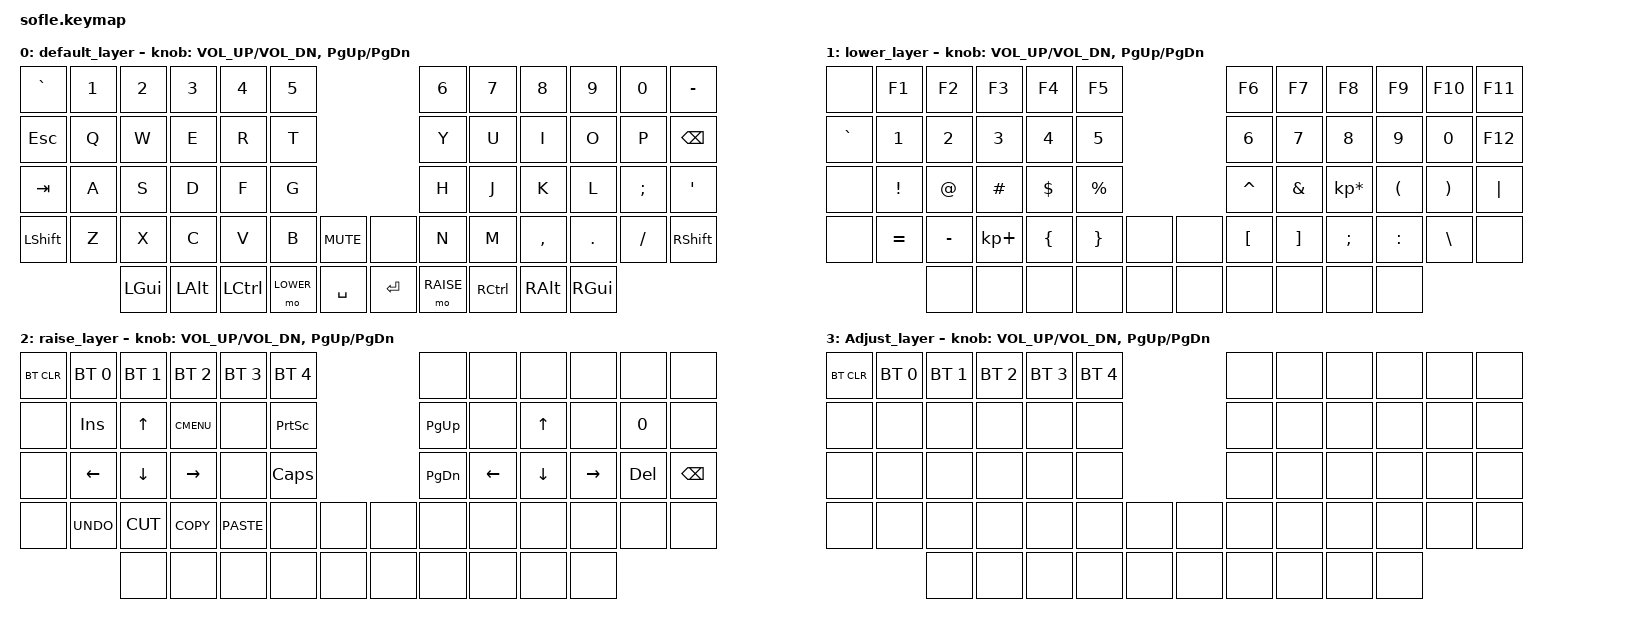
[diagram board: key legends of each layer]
/*
 * Copyright (c) 2020 The ZMK Contributors
 *
 * SPDX-License-Identifier: MIT
 */

#include <behaviors.dtsi>
#include <dt-bindings/zmk/bt.h>
#include <dt-bindings/zmk/keys.h>

#define BASE 0
#define LOWER 1
#define RAISE 2
#define ADJUST 3

/ {
    // Activate ADJUST layer by pressing raise and lower

    conditional_layers {
        compatible = "zmk,conditional-layers";

        adjust_layer {
            if-layers = <LOWER RAISE>;
            then-layer = <ADJUST>;
        };
    };

    keymap {
        compatible = "zmk,keymap";

        default_layer {
            // ------------------------------------------------------------------------------------------------------------
            // |  `    |  1  |  2  |  3   |  4   |  5   |                   |  6   |  7    |  8    |  9   |   0   |       |
            // |  ESC  |  Q  |  W  |  E   |  R   |  T   |                   |  Y   |  U    |  I    |  O   |   P   | BKSPC |
            // |  TAB  |  A  |  S  |  D   |  F   |  G   |                   |  H   |  J    |  K    |  L   |   ;   |   '   |
            // | SHIFT |  Z  |  X  |  C   |  V   |  B   |  MUTE  |  |       |  N   |  M    |  ,    |  .   |   /   | SHIFT |
            //               | GUI | ALT  | CTRL | LOWER|  ENTER |  | SPACE | RAISE| CTRL  | ALT   | GUI  |

            bindings = <
&kp GRAVE  &kp N1  &kp N2    &kp N3    &kp N4     &kp N5                              &kp N6     &kp N7     &kp N8     &kp N9    &kp N0    &kp MINUS
&kp ESC    &kp Q   &kp W     &kp E     &kp R      &kp T                               &kp Y      &kp U      &kp I      &kp O     &kp P     &kp BSPC
&kp TAB    &kp A   &kp S     &kp D     &kp F      &kp G                               &kp H      &kp J      &kp K      &kp L     &kp SEMI  &kp SQT
&kp LSHFT  &kp Z   &kp X     &kp C     &kp V      &kp B      &kp C_MUTE    &none      &kp N      &kp M      &kp COMMA  &kp DOT   &kp FSLH  &kp RSHFT
                   &kp LGUI  &kp LALT  &kp LCTRL  &mo LOWER  &kp SPACE     &kp ENTER  &mo RAISE  &kp RCTRL  &kp RALT   &kp RGUI
            >;

            sensor-bindings = <&inc_dec_kp C_VOL_UP C_VOL_DN &inc_dec_kp PG_UP PG_DN>;
        };

        lower_layer {
            // TODO: Some binds are waiting for shifted keycode support.
            // ------------------------------------------------------------------------------------------------------------
            // |       |  F1 |  F2 |  F3  |  F4  |  F5  |                   |  F6  |  F7   |  F8   |  F9  |  F10  |  F11  |
            // | `     |   1 |   2 |   3  |   4  |   5  |                   |   6  |   7   |   8   |   9  |    0  |  F12  |
            // |       |  !  |  @  |  #   |  $   |  %   |                   |  ^   |  &    |  *    |  (   |   )   |   |   |
            // |       |  =  |  -  |  +   |  {   |  }   |        |  |       |  [   |  ]    |  ;    |  :   |   \   |       |
            //               |     |      |      |      |        |  |       |      |       |       |      |

            bindings = <
&none      &kp F1     &kp F2     &kp F3       &kp F4    &kp F5                     &kp F6     &kp F7    &kp F8           &kp F9     &kp F10   &kp F11
&kp GRAVE  &kp N1     &kp N2     &kp N3       &kp N4    &kp N5                     &kp N6     &kp N7    &kp N8           &kp N9     &kp N0    &kp F12
&none      &kp EXCL   &kp AT     &kp HASH     &kp DLLR  &kp PRCNT                  &kp CARET  &kp AMPS  &kp KP_MULTIPLY  &kp LPAR   &kp RPAR  &kp PIPE
&none      &kp EQUAL  &kp MINUS  &kp KP_PLUS  &kp LBRC  &kp RBRC   &none    &none  &kp LBKT   &kp RBKT  &kp SEMI         &kp COLON  &kp BSLH  &none
                      &none      &none        &none     &none      &none    &none  &none      &none     &none            &none
            >;

            sensor-bindings = <&inc_dec_kp C_VOL_UP C_VOL_DN &inc_dec_kp PG_UP PG_DN>;
        };

        raise_layer {
            // ------------------------------------------------------------------------------------------------------------
            // |BTCLR| BT1  | BT2  |  BT3  |  BT4  |  BT5 |                |      |      |       |      |       |       |
            // |     | INS  | PSCR | GUI   |       |      |                | PGUP |      |   ^   |      |       |       |
            // |     | ALT  | CTRL | SHIFT |       | CAPS |                | PGDN |   <- |   v   |  ->  |  DEL  | BKSPC |
            // |     | UNDO | CUT  | COPY  | PASTE |      |      |  |      |      |      |       |      |       |       |
            //              |      |       |       |      |      |  |      |      |      |       |      |

            bindings = <
&bt BT_CLR  &bt BT_SEL 0    &bt BT_SEL 1    &bt BT_SEL 2     &bt BT_SEL 3  &bt BT_SEL 4                     &none      &none     &none     &none      &none    &none
&none       &kp INS         &kp UP_ARROW    &kp K_CMENU      &none         &kp PRINTSCREEN                  &kp PG_UP  &none     &kp UP    &none      &kp N0   &none
&none       &kp LEFT_ARROW  &kp DOWN_ARROW  &kp RIGHT_ARROW  &none         &kp CLCK                         &kp PG_DN  &kp LEFT  &kp DOWN  &kp RIGHT  &kp DEL  &kp BSPC
&none       &kp K_UNDO      &kp K_CUT       &kp K_COPY       &kp K_PASTE   &none            &none    &none  &none      &none     &none     &none      &none    &none
                            &none           &none            &none         &none            &none    &none  &none      &none     &none     &none
            >;

            sensor-bindings = <&inc_dec_kp C_VOL_UP C_VOL_DN &inc_dec_kp PG_UP PG_DN>;
        };

        // ------------------------------------------------------------------------------------------------------------
        // |BTCLR | BT1   | BT2   |  BT3  |  BT4  |  BT5  |                |      |      |       |      |       |       |
        // |EXTPWR|RGB_HUD|RGB_HUI|RGB_SAD|RGB_SAI|RGB_EFF|                |      |      |       |      |       |       |
        // |      |RGB_BRD|RGB_BRI|       |       |       |                |      |      |       |      |       |       |
        // |      |       |       |       |       |       |RGB_TOG| |      |      |      |       |      |       |       |
        //                |       |       |       |       |       | |      |      |      |       |      |

        Adjust_layer {
            bindings = <
&bt BT_CLR  &bt BT_SEL 0  &bt BT_SEL 1  &bt BT_SEL 2  &bt BT_SEL 3  &bt BT_SEL 4                  &none  &none  &none  &none  &none  &none
&none       &none         &none         &none         &none         &none                         &none  &none  &none  &none  &none  &none
&none       &none         &none         &none         &none         &none                         &none  &none  &none  &none  &none  &none
&none       &none         &none         &none         &none         &none         &none    &none  &none  &none  &none  &none  &none  &none
                          &none         &none         &none         &none         &none    &none  &none  &none  &none  &none
            >;

            sensor-bindings = <&inc_dec_kp C_VOL_UP C_VOL_DN &inc_dec_kp PG_UP PG_DN>;
        };
    };
};
